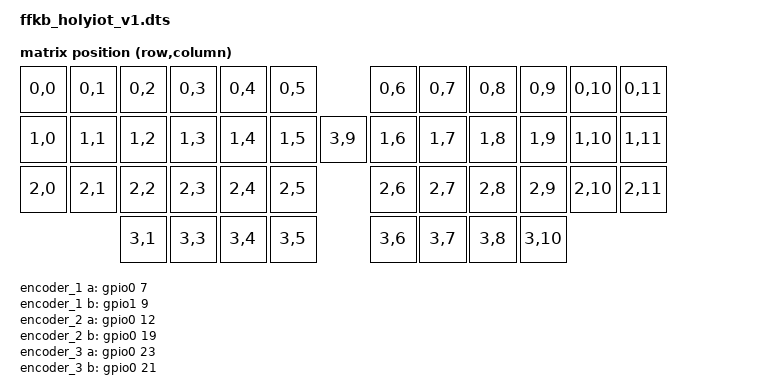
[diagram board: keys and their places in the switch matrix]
/*
 * Copyright (c) 2021 The ZMK Contributors
 *
 * SPDX-License-Identifier: MIT
 */

/dts-v1/;

#include <nordic/nrf52840_qiaa.dtsi>
#include <dt-bindings/zmk/matrix_transform.h>
#include <dt-bindings/led/led.h>
#include "ffkb_holyiot_v1-pinctl.dtsi"

/ {
    chosen {
        zephyr,code-partition = &code_partition;
        zephyr,sram = &sram0;
        zephyr,flash = &flash0;
        zmk,kscan = &kscan0;
        zmk,matrix_transform = &default_transform;
        zmk,battery = &vbatt;
        zmk,underglow = &led_strip;
        // for logging, if needed
        zephyr,console = &cdc_acm_uart;
    };

    leds {
        compatible = "gpio-leds";   
        blue_led: led_0 {
            gpios = <&gpio1 11 GPIO_ACTIVE_HIGH>;
        };
    };

    vbatt: vbatt {
        compatible = "zmk,battery-voltage-divider";
        io-channels = <&adc 7>;
        output-ohms = <2000000>;
        full-ohms = <(2000000 + 820000)>;
    };

    // Left encoder
    encoder_1: encoder_1 {
        compatible = "alps,ec11";
        a-gpios = <&gpio0 7 (GPIO_ACTIVE_LOW | GPIO_PULL_UP)>;
        b-gpios = <&gpio1 9 (GPIO_ACTIVE_LOW | GPIO_PULL_UP)>;
        steps = <80>;
        status = "okay";
    };

    // Right encoder
    encoder_2: encoder_2 {
        compatible = "alps,ec11";
        a-gpios = <&gpio0 12 (GPIO_ACTIVE_LOW | GPIO_PULL_UP)>;
        b-gpios = <&gpio0 19 (GPIO_ACTIVE_LOW | GPIO_PULL_UP)>;
        steps = <80>;
        status = "okay";
    };

    // Center encoder
    encoder_3: encoder_3 {
        compatible = "alps,ec11";
        a-gpios = <&gpio0 23 (GPIO_ACTIVE_LOW | GPIO_PULL_UP)>;
        b-gpios = <&gpio0 21 (GPIO_ACTIVE_LOW | GPIO_PULL_UP)>;
        steps = <80>;
        status = "okay";
    };

    sensors {
        compatible = "zmk,keymap-sensors";
        sensors = <&encoder_1 &encoder_2 &encoder_3>;
    };

    kscan0: kscan_0 {
        compatible = "zmk,kscan-gpio-matrix";
        diode-direction = "col2row";

        col-gpios
            = <&gpio1 4  (GPIO_ACTIVE_HIGH)> // col 0
            , <&gpio1 0  (GPIO_ACTIVE_HIGH)> // col 1
            , <&gpio1 1  (GPIO_ACTIVE_HIGH)> // col 2
            , <&gpio1 3  (GPIO_ACTIVE_HIGH)> // col 3
            , <&gpio1 2  (GPIO_ACTIVE_HIGH)> // col 4
            , <&gpio0 22 (GPIO_ACTIVE_HIGH)> // col 5
            , <&gpio1 10 (GPIO_ACTIVE_HIGH)> // col 6
            , <&gpio1 13 (GPIO_ACTIVE_HIGH)> // col 7
            , <&gpio0 29 (GPIO_ACTIVE_HIGH)> // col 8
            , <&gpio0 3  (GPIO_ACTIVE_HIGH)> // col 9
            , <&gpio1 15 (GPIO_ACTIVE_HIGH)> // col 10
            , <&gpio0 30 (GPIO_ACTIVE_HIGH)> // col 11
            ;

        row-gpios
            = <&gpio0 9  (GPIO_ACTIVE_HIGH | GPIO_PULL_DOWN)> // row 0
            , <&gpio1 6  (GPIO_ACTIVE_HIGH | GPIO_PULL_DOWN)> // row 1
            , <&gpio0 28 (GPIO_ACTIVE_HIGH | GPIO_PULL_DOWN)> // row 2
            , <&gpio0 2  (GPIO_ACTIVE_HIGH | GPIO_PULL_DOWN)> // row 3
            ;
    };

    default_transform: keymap_transform_0 {
        compatible = "zmk,matrix-transform";
        columns = <12>;
        rows = <4>;

        map = <
             RC(0,0) RC(0,1) RC(0,2) RC(0,3) RC(0,4) RC(0,5)         RC(0,6) RC(0,7) RC(0,8) RC(0,9) RC(0,10) RC(0,11)
             RC(1,0) RC(1,1) RC(1,2) RC(1,3) RC(1,4) RC(1,5) RC(3,9) RC(1,6) RC(1,7) RC(1,8) RC(1,9) RC(1,10) RC(1,11)
             RC(2,0) RC(2,1) RC(2,2) RC(2,3) RC(2,4) RC(2,5)         RC(2,6) RC(2,7) RC(2,8) RC(2,9) RC(2,10) RC(2,11)
                             RC(3,1) RC(3,3) RC(3,4) RC(3,5)         RC(3,6) RC(3,7) RC(3,8) RC(3,10)
        >;
    };
};

&adc {
    status = "okay";
};

&gpiote {
    status = "okay";
};

&gpio0 {
    status = "okay";
};

&gpio1 {
    status = "okay";
};

// for logging, if needed
&usbd {
    status = "okay";
    cdc_acm_uart: cdc_acm_uart {
        compatible = "zephyr,cdc-acm-uart";
    };
};


&flash0 {
    /*
     * For more information, see:
     * http://docs.zephyrproject.org/latest/devices/dts/flash_partitions.html
     */
    partitions {
        compatible = "fixed-partitions";
        #address-cells = <1>;
        #size-cells = <1>;

        sd_partition: partition@0 {
            reg = <0x00000000 0x00001000>;
        };
        code_partition: partition@1000 {
            reg = <0x00001000 0x000d3000>;
        };

        storage_partition: partition@d4000 {
            reg = <0x000d4000 0x00020000>;
        };

        boot_partition: partition@f4000 {
            reg = <0x000f4000 0x0000c000>;
        };
    };
};

&spi0 {
    compatible = "nordic,nrf-spim";
    status = "okay";

    pinctrl-0 = <&spi0_default>;
    pinctrl-1 = <&spi0_sleep>;
    pinctrl-names = "default", "sleep";

    led_strip: ws2812@0 {
        compatible = "worldsemi,ws2812-spi";

        /* SPI */
        reg = <0>; /* ignored, but necessary for SPI bindings */
        spi-max-frequency = <4000000>;

        /* WS2812 */
        chain-length = <42>; /* arbitrary; change at will */
        spi-one-frame = <0x70>;
        spi-zero-frame = <0x40>;

        color-mapping = <LED_COLOR_ID_GREEN LED_COLOR_ID_RED LED_COLOR_ID_BLUE>;
    };
};
